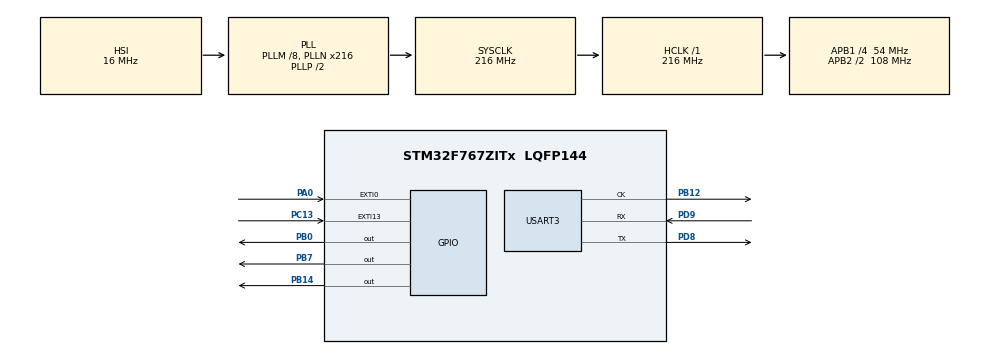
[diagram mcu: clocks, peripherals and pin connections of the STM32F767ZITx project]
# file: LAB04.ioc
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Mcu.Family=STM32F7
Mcu.Name=STM32F767ZITx
Mcu.Package=LQFP144
NVIC.EXTI0_IRQn=true\:2\:0\:true\:false\:true\:true\:true\:true
NVIC.EXTI15_10_IRQn=true\:1\:0\:true\:false\:true\:true\:true\:true
NVIC.PriorityGroup=NVIC_PRIORITYGROUP_4
PA0/WKUP.Signal=GPXTI0
PB0.Signal=GPIO_Output
PB12.Mode=Synchronous
PB12.Signal=USART3_CK
PB14.Signal=GPIO_Output
PB7.Signal=GPIO_Output
PC13.Signal=GPXTI13
PD8.Mode=Synchronous
PD8.Signal=USART3_TX
PD9.Mode=Synchronous
PD9.Signal=USART3_RX
ProjectManager.HeapSize=0x200
ProjectManager.StackSize=0x400
ProjectManager.TargetToolchain=STM32CubeIDE
RCC.48MHZClocksFreq_Value=24000000
RCC.AHBFreq_Value=216000000
RCC.APB1CLKDivider=RCC_HCLK_DIV4
RCC.APB1Freq_Value=54000000
RCC.APB1TimFreq_Value=108000000
RCC.APB2CLKDivider=RCC_HCLK_DIV2
RCC.APB2Freq_Value=108000000
RCC.APB2TimFreq_Value=216000000
RCC.CortexFreq_Value=216000000
RCC.HCLKFreq_Value=216000000
RCC.HSE_VALUE=8000000
RCC.HSI_VALUE=16000000
RCC.LSE_VALUE=32768
RCC.PLLM=8
RCC.PLLMUL=RCC_PLL_MUL9
RCC.PLLN=216
RCC.PLLQ=4
RCC.PRESCALERUSB=RCC_USBCLKSOURCE_PLL_DIV1_5
RCC.SYSCLKFreq_VALUE=216000000
RCC.SYSCLKSource=RCC_SYSCLKSOURCE_PLLCLK
RCC.SYSCLKSourceVirtual=RCC_SYSCLKSOURCE_PLLCLK
RCC.USBFreq_Value=108000000
RCC.VCOOutputFreq_Value=432000000
USART3.VirtualMode-Synchronous=VM_SYNC
board=NUCLEO-F767ZI

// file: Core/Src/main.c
/* USER CODE BEGIN Header */
/**
  ******************************************************************************
  * @file           : main.c
  * @brief          : Main program body
  ******************************************************************************
  * @attention
  *
  * Copyright (c) 2024 STMicroelectronics.
  * All rights reserved.
  *
  * This software is licensed under terms that can be found in the LICENSE file
  * in the root directory of this software component.
  * If no LICENSE file comes with this software, it is provided AS-IS.
  *
  ******************************************************************************
  */
/* USER CODE END Header */
#include "main.h"
#include "usart.h"
#include "gpio.h"

/* USER CODE BEGIN Includes */
#include <string.h>
/* USER CODE END Includes */

void SystemClock_Config(void);

int main(void)
{

  /* MCU Configuration--------------------------------------------------------*/

  /* Reset of all peripherals, Initializes the Flash interface and the Systick. */
  HAL_Init();

  /* Configure the system clock */
  SystemClock_Config();

  /* Initialize all configured peripherals */
  MX_GPIO_Init();
  MX_USART3_Init();

  /* Infinite loop */
  while (1)
  {

    /* USER CODE BEGIN 3 */
	  uint8_t Test[] = "."; //Data to send
	  HAL_USART_Transmit(&husart3,Test,sizeof(Test),10);// Sending in normal mode
	  HAL_Delay(400);
  }
  /* USER CODE END 3 */
}

void SystemClock_Config(void)
{
  RCC_OscInitTypeDef RCC_OscInitStruct = {0};
  RCC_ClkInitTypeDef RCC_ClkInitStruct = {0};

  /** Configure the main internal regulator output voltage
  */
  __HAL_RCC_PWR_CLK_ENABLE();
  __HAL_PWR_VOLTAGESCALING_CONFIG(PWR_REGULATOR_VOLTAGE_SCALE1);

  /** Initializes the RCC Oscillators according to the specified parameters
  * in the RCC_OscInitTypeDef structure.
  */
  RCC_OscInitStruct.OscillatorType = RCC_OSCILLATORTYPE_HSI;
  RCC_OscInitStruct.HSIState = RCC_HSI_ON;
  RCC_OscInitStruct.HSICalibrationValue = RCC_HSICALIBRATION_DEFAULT;
  RCC_OscInitStruct.PLL.PLLState = RCC_PLL_ON;
  RCC_OscInitStruct.PLL.PLLSource = RCC_PLLSOURCE_HSI;
  RCC_OscInitStruct.PLL.PLLM = 8;
  RCC_OscInitStruct.PLL.PLLN = 216;
  RCC_OscInitStruct.PLL.PLLP = RCC_PLLP_DIV2;
  RCC_OscInitStruct.PLL.PLLQ = 4;
  RCC_OscInitStruct.PLL.PLLR = 2;
  if (HAL_RCC_OscConfig(&RCC_OscInitStruct) != HAL_OK)
  {
    Error_Handler();
  }

  /** Activate the Over-Drive mode
  */
  if (HAL_PWREx_EnableOverDrive() != HAL_OK)
  {
    Error_Handler();
  }

  /** Initializes the CPU, AHB and APB buses clocks
  */
  RCC_ClkInitStruct.ClockType = RCC_CLOCKTYPE_HCLK|RCC_CLOCKTYPE_SYSCLK
                              |RCC_CLOCKTYPE_PCLK1|RCC_CLOCKTYPE_PCLK2;
  RCC_ClkInitStruct.SYSCLKSource = RCC_SYSCLKSOURCE_PLLCLK;
  RCC_ClkInitStruct.AHBCLKDivider = RCC_SYSCLK_DIV1;
  RCC_ClkInitStruct.APB1CLKDivider = RCC_HCLK_DIV4;
  RCC_ClkInitStruct.APB2CLKDivider = RCC_HCLK_DIV2;

  if (HAL_RCC_ClockConfig(&RCC_ClkInitStruct, FLASH_LATENCY_7) != HAL_OK)
  {
    Error_Handler();
  }
}

/* USER CODE BEGIN 4 */
void HAL_GPIO_EXTI_Callback(uint16_t GPIO_PIN)
{	if (GPIO_PIN == GPIO_PIN_13) {
	char message[] = "---";
		HAL_USART_Transmit(&husart3, (uint8_t *)message, sizeof(message) - 1, 100);
		HAL_Delay(200);
		for (int i = 0; i<20; i++){
			HAL_USART_Transmit(&husart3, (uint8_t *)"B", sizeof(message) - 1, 100);
			HAL_Delay(200);
    }
}
else if(GPIO_PIN == GPIO_PIN_0){
	char message[] = "---";
	HAL_USART_Transmit(&husart3, (uint8_t *)message, sizeof(message) - 1, 100);
	HAL_Delay(200);
	for (int i = 0; i<20; i++){
		HAL_USART_Transmit(&husart3, (uint8_t *)"E", sizeof(message) - 1, 100);
		HAL_Delay(200);
	}
}

}
/* USER CODE END 4 */

void Error_Handler(void)
{
  __disable_irq();
  while (1)
  {
  }
}
